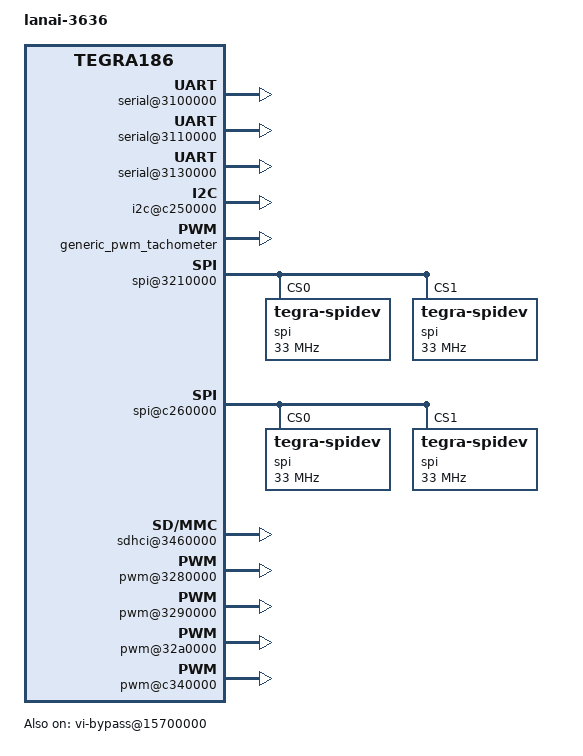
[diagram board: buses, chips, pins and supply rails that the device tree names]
/*
 * tegra186-p3636-0001-common.dtsi : Lanai common dtsi.
 *
 * Copyright (c) 2020-2021, NVIDIA CORPORATION.  All rights reserved.
 *
 * This program is free software; you can redistribute it and/or modify
 * it under the terms of the GNU General Public License as published by
 * the Free Software Foundation; version 2 of the License.
 *
 * This program is distributed in the hope that it will be useful, but WITHOUT
 * ANY WARRANTY; without even the implied warranty of MERCHANTABILITY or
 * FITNESS FOR A PARTICULAR PURPOSE.  See the GNU General Public License for
 * more details.
 */

#include <dt-bindings/types.h>
#include <dt-bindings/gpio/tegra186-gpio.h>
#include <dt-bindings/audio/tegra186-audio.h>
/dts-v1/;

/memreserve/ 0x80000000 0x00010000;

#include <tegra186-soc/tegra186-soc-cvm.dtsi>
#include <tegra186-soc/mods-simple-bus.dtsi>
#include <t18x-common-platforms/tegra186-platforms-simple-bus.dtsi>
#include "t18x-common-platforms/tegra186-thermal-userspace-alert.dtsi"
#include "tegra186-p3636-0001-a00-disp.dtsi"
#include "tegra186-p3636-0001-a00-powermon.dtsi"
#include "tegra186-p3636-0001-a00-power-tree.dtsi"
#include "tegra186-p3636-0001-a00-pwm-fan.dtsi"
#include "tegra186-p3636-0001-a00-thermal-fan-est.dtsi"
#include "tegra186-p3636-0001-a00-eqos.dtsi"
#include "tegra186-p3636-0001-a00-audio.dtsi"
#include "tegra186-p3636-0001-a00-thermal.dtsi"
#include "tegra186-p3636-plugin-manager.dtsi"
#include "tegra186-p3636-0001-a00-comms.dtsi"

#define EXTCON_NONE		0
#define EXTCON_USB		1
#define EXTCON_USB_Host		2

/ {
        model = "lanai-3636";
        compatible = "nvidia,lanai-3636", "nvidia,tegra186";

        #address-cells = <2>;
        #size-cells = <2>;

	serial@3100000 {
		compatible = "nvidia,tegra20-uart", "nvidia,tegra186-hsuart";
		console-port;
		sqa-automation-port;
		/delete-property/ resets;
		/delete-property/ reset-names;
		status = "okay";
	};

	serial@3110000 {
		compatible = "nvidia,tegra186-hsuart";
		status = "okay";
	};

	serial@c280000 {
		status = "disabled";
	};

	serial@3130000 {
		compatible = "nvidia,tegra186-hsuart";
		dma-names = "tx";
		status = "okay";
	};

	/* gen8-i2c - ID EEPROM */
	i2c@c250000 {
		status="okay";
	};

	vi-bypass@15700000{
		compatible = "nvidia,tegra186-vi-bypass";
		status = "okay";
	};

	tachometer@39c0000 {
		status = "okay";
	};

	generic_pwm_tachometer {
		pwms = <&tegra_tachometer 0 1000000>;
		status = "okay";
	};

	pmc@c360000 {
		nvidia,restrict-voltage-switch;
		iopad-defaults {
			sdmmc-io-pads {
				pins = "sdmmc1-hv", "sdmmc2-hv", "sdmmc3-hv";
				nvidia,enable-voltage-switching;
			};
		};
	};

	pmc@c370000 {
		nvidia,invert-interrupt;
	};

	spi@3210000 { /* SPI 1 to 40 pin header */
		status = "okay";
		spi@0 {
			compatible = "tegra-spidev";
			reg = <0x0>;
			spi-max-frequency = <33000000>;
			controller-data {
				nvidia,enable-hw-based-cs;
				nvidia,rx-clk-tap-delay = <0x8>;
				nvidia,tx-clk-tap-delay = <0x16>;
			};
		};
		spi@1 {
			compatible = "tegra-spidev";
			reg = <0x1>;
			spi-max-frequency = <33000000>;
			controller-data {
				nvidia,enable-hw-based-cs;
				nvidia,rx-clk-tap-delay = <0x8>;
				nvidia,tx-clk-tap-delay = <0x16>;
			};
		};
	};

	spi@c260000 { /* SPI 2 to 40 pin header */
		status = "okay";
		spi@0 {
			compatible = "tegra-spidev";
			reg = <0x0>;
			spi-max-frequency = <33000000>;
			controller-data {
				nvidia,enable-hw-based-cs;
			};
		};
		spi@1 {
			compatible = "tegra-spidev";
			reg = <0x1>;
			spi-max-frequency = <33000000>;
			controller-data {
				nvidia,enable-hw-based-cs;
			};
		};
	};

	external-connection {
		vbus_id_extcon: extcon@1 {
			compatible = "extcon-gpio-states";
			reg = <0x1>;
			extcon-gpio,name = "VBUS";
			extcon-gpio,wait-for-gpio-scan = <0>;
			extcon-gpio,cable-states = <
						    0x0 0x1
						    0x1 0x0>;
			gpios = <&tegra_main_gpio TEGRA_MAIN_GPIO(L, 4) 0>;
			extcon-gpio,out-cable-names = <EXTCON_USB EXTCON_USB_Host EXTCON_NONE>;
			wakeup-source;
			#extcon-cells = <1>;
		};
	};

	/* eMMC */
	sdhci@3460000 {
		uhs-mask = <0x0>; /*enable HS400 mode*/
		nvidia,enable-strobe-mode;
		nvidia,en-periodic-cflush;
		nvidia,periodic-cflush-to = <100>;
		nvidia,enable-hwcq;
		mmc-hs400-enhanced-strobe;
		status = "okay";
	};

	pwm@3280000 {
		status = "okay";
	};

	pwm@3290000 {
		status = "okay";
	};

	pwm@32a0000 {
		status = "okay";
	};

	pwm@c340000 {
		status = "okay";
	};

	soft_wdt:soft_watchdog {
		compatible = "softdog-platform";
		status = "okay";
	};

	mailbox@3538000 {
		status = "okay";
	};

	xudc@3550000 {
		extcon-cables = <&vbus_id_extcon 0>;
		extcon-cable-names = "vbus";
		#extcon-cells = <1>;
		emc-frequency = <100000000>;
	};

	xhci@3530000 {
		extcon-cables = <&vbus_id_extcon 1>;
		extcon-cable-names = "id";
		#extcon-cells = <1>;
	};

	bwmgr {
		status = "okay";
	};

	tegra-hsp@3c00000 {
		status = "okay";
	};

	tegra-hsp@b150000 {
		status = "okay";
	};

	rtcpu@b000000 {
		status = "okay";
	};

	nvdumper {
		status = "disabled";
	};

	bcpu_alert: bcpu-throttle-alert {
		status = "okay";
	};

	mcpu_alert: mcpu-throttle-alert {
		status = "okay";
	};

	gpu_alert: gpu-throttle-alert {
		status = "okay";
	};

	mipical {
		status="okay";
	};
};

